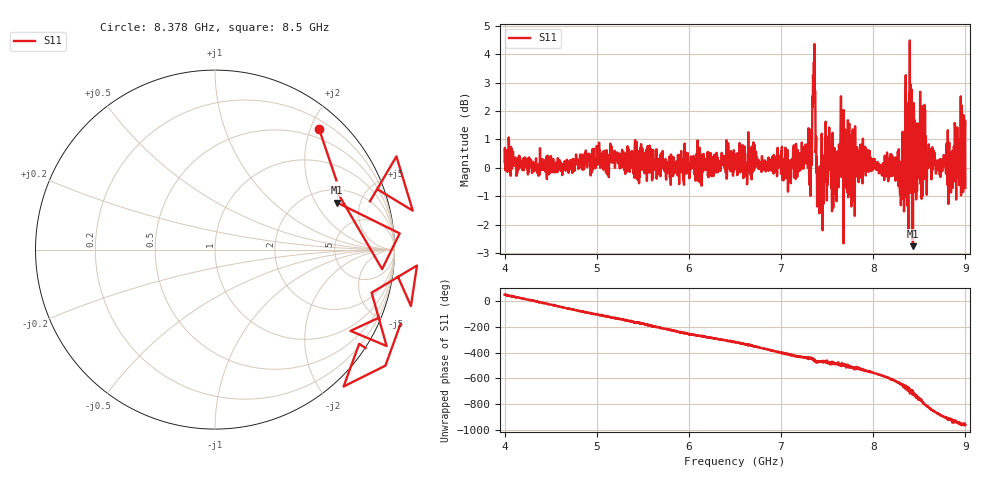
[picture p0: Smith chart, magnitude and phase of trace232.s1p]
! Created with skrf 1.8.0 (http://scikit-rf.org).
# Hz S RI R 50.0
!freq ReS11 ImS11
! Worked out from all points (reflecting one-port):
!   1601 points, 4 GHz to 9 GHz, reference 50 ohm
!   lowest |S11| = -2.8 dB at 8.431 GHz (marker M1), VSWR 6.36, Z = 137 + j153 ohm
!   phase of S11 starts at 53 deg and turns -1017 deg over the sweep
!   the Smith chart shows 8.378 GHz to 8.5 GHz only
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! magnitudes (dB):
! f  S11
! 4 GHz  0.2
! 4.625 GHz  -0.3
! 5.25 GHz  0.0
! 5.875 GHz  0.1
! 6.5 GHz  0.0
! 7.125 GHz  0.3
! 7.309 GHz  0.7
! 7.35 GHz  2.7
! 7.362 GHz  4.4
! 7.391 GHz  -1.4
! 7.409 GHz  -0.7
! 7.509 GHz  -0.3
! 7.609 GHz  -0.1
! 7.65 GHz  2.5
! 7.703 GHz  -0.7
! 7.75 GHz  0.0
! 7.775 GHz  1.1
! 8.247 GHz  0.0
! 8.316 GHz  0.2
! 8.334 GHz  -1.5
! 8.356 GHz  1.3
! 8.375 GHz  -0.6
! 8.431 GHz  -2.8
! 8.522 GHz  1.7
! 8.606 GHz  0.5
! 8.841 GHz  0.1
! 8.972 GHz  -0.2
! 9 GHz  -0.7
